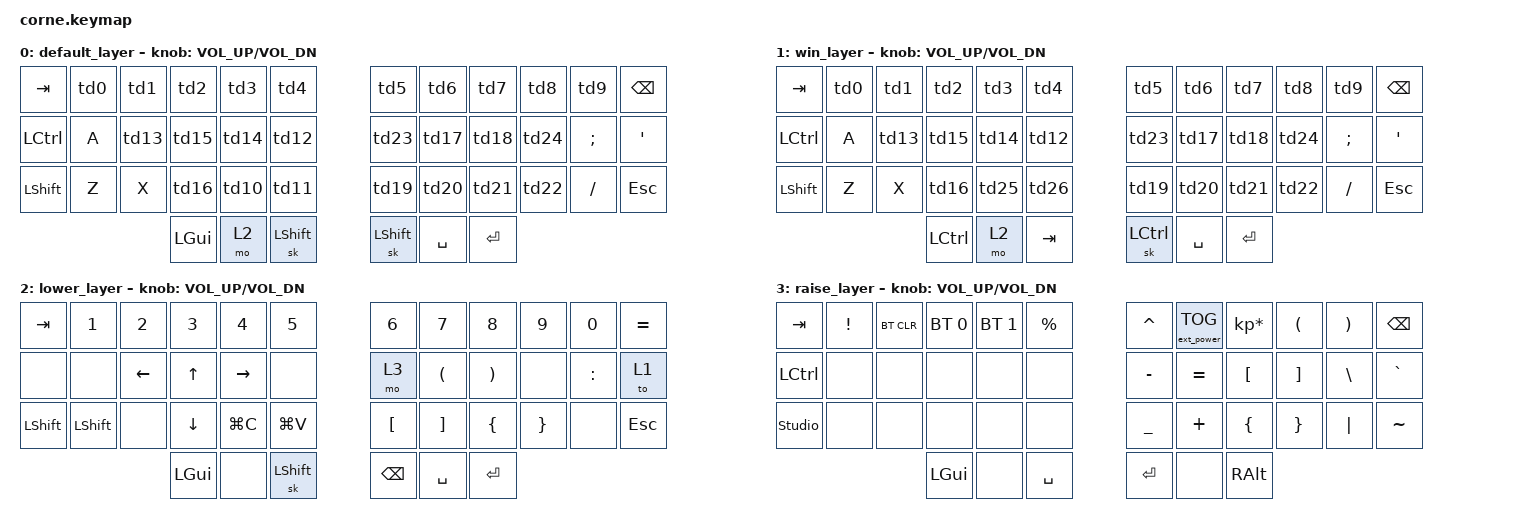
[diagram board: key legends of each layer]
/*
 * Copyright (c) 2020 The ZMK Contributors
 *
 * SPDX-License-Identifier: MIT
 */

#include <behaviors.dtsi>
#include <dt-bindings/zmk/keys.h>
#include <dt-bindings/zmk/bt.h>
#include <dt-bindings/zmk/ext_power.h>
#include <dt-bindings/zmk/mouse.h>

/ {
    combos {
        compatible = "zmk,combos";
        combo_toggle_win_layer {
            timeout-ms = <50>;
            key-positions = <28 31>;
            bindings = <&tog 3>;
        };
        combo_enter {
            timeout-ms = <50>;
            key-positions = <15 20>;
            bindings = <&kp RET>;
        };
    };
    behaviors {
        td0: TDQ1 {
            compatible = "zmk,behavior-tap-dance";
            #binding-cells = <0>;
            tapping-term-ms = <175>;
            bindings = <&kp Q>, <&kp N1>;
        };
        td1: TDW2 {
            compatible = "zmk,behavior-tap-dance";
            #binding-cells = <0>;
            tapping-term-ms = <175>;
            bindings = <&kp W>, <&kp N2>;
        };
        td2: TDE3 {
            compatible = "zmk,behavior-tap-dance";
            #binding-cells = <0>;
            tapping-term-ms = <175>;
            bindings = <&kp E>, <&kp N3>;
        };
        td3: TDR4 {
            compatible = "zmk,behavior-tap-dance";
            #binding-cells = <0>;
            tapping-term-ms = <175>;
            bindings = <&kp R>, <&kp N4>;
        };
        td4: TDT5 {
            compatible = "zmk,behavior-tap-dance";
            #binding-cells = <0>;
            tapping-term-ms = <175>;
            bindings = <&kp T>, <&kp N5>;
        };
        td5: TDY6 {
            compatible = "zmk,behavior-tap-dance";
            #binding-cells = <0>;
            tapping-term-ms = <175>;
            bindings = <&kp Y>, <&kp N6>;
        };
        td6: TDU7 {
            compatible = "zmk,behavior-tap-dance";
            #binding-cells = <0>;
            tapping-term-ms = <175>;
            bindings = <&kp U>, <&kp N7>;
        };
        td7: TDI8 {
            compatible = "zmk,behavior-tap-dance";
            #binding-cells = <0>;
            tapping-term-ms = <175>;
            bindings = <&kp I>, <&kp N8>;
        };
        td8: TDO9 {
            compatible = "zmk,behavior-tap-dance";
            #binding-cells = <0>;
            tapping-term-ms = <175>;
            bindings = <&kp O>, <&kp N9>;
        };
        td9: TDP0 {
            compatible = "zmk,behavior-tap-dance";
            #binding-cells = <0>;
            tapping-term-ms = <175>;
            bindings = <&kp P>, <&kp N0>;
        };
        td10: TDV_COPY {
            compatible = "zmk,behavior-tap-dance";
            #binding-cells = <0>;
            tapping-term-ms = <175>;
            bindings = <&kp V>, <&kp LG(C)>;
        };
        td11: TDB_PASTE {
            compatible = "zmk,behavior-tap-dance";
            #binding-cells = <0>;
            tapping-term-ms = <175>;
            bindings = <&kp B>, <&kp LG(V)>;
        };
        td12: TDG_SAVE {
            compatible = "zmk,behavior-tap-dance";
            #binding-cells = <0>;
            tapping-term-ms = <175>;
            bindings = <&kp G>, <&kp LG(S)>;
        };
        td13: TDS_LEFT {
            compatible = "zmk,behavior-tap-dance";
            #binding-cells = <0>;
            tapping-term-ms = <175>;
            bindings = <&kp S>, <&kp LEFT>;
        };
        td14: TDF_RIGHT {
            compatible = "zmk,behavior-tap-dance";
            #binding-cells = <0>;
            tapping-term-ms = <175>;
            bindings = <&kp F>, <&kp RIGHT>;
        };
        td15: TDD_UP {
            compatible = "zmk,behavior-tap-dance";
            #binding-cells = <0>;
            tapping-term-ms = <175>;
            bindings = <&kp D>, <&kp UP>;
        };
        td16: TDC_DOWN {
            compatible = "zmk,behavior-tap-dance";
            #binding-cells = <0>;
            tapping-term-ms = <175>;
            bindings = <&kp C>, <&kp DOWN>;
        };
        td17: TDJ_LPAREN {
            compatible = "zmk,behavior-tap-dance";
            #binding-cells = <0>;
            tapping-term-ms = <175>;
            bindings = <&kp J>, <&kp LPAR>;
        };
        td18: TDK_RPAREN {
            compatible = "zmk,behavior-tap-dance";
            #binding-cells = <0>;
            tapping-term-ms = <175>;
            bindings = <&kp K>, <&kp RPAR>;
        };
        td19: TDN_LBKT {
            compatible = "zmk,behavior-tap-dance";
            #binding-cells = <0>;
            tapping-term-ms = <175>;
            bindings = <&kp N>, <&kp LBKT>;
        };
        td20: TDM_RBKT {
            compatible = "zmk,behavior-tap-dance";
            #binding-cells = <0>;
            tapping-term-ms = <175>;
            bindings = <&kp M>, <&kp RBKT>;
        };
        td21: TDCOMMA_LBRC {
            compatible = "zmk,behavior-tap-dance";
            #binding-cells = <0>;
            tapping-term-ms = <175>;
            bindings = <&kp COMMA>, <&kp LBRC>;
        };
        td22: TDDOT_RBRC {
            compatible = "zmk,behavior-tap-dance";
            #binding-cells = <0>;
            tapping-term-ms = <175>;
            bindings = <&kp DOT>, <&kp RBRC>;
        };
        td23: TDH_MINUS {
            compatible = "zmk,behavior-tap-dance";
            #binding-cells = <0>;
            tapping-term-ms = <175>;
            bindings = <&kp H>, <&kp MINUS>;
        };
        td24: TDL_PLUS {
            compatible = "zmk,behavior-tap-dance";
            #binding-cells = <0>;
            tapping-term-ms = <175>;
            bindings = <&kp L>, <&kp PLUS>;
        };
        td25: TDV_CTRLC {
            compatible = "zmk,behavior-tap-dance";
            #binding-cells = <0>;
            tapping-term-ms = <175>;
            bindings = <&kp V>, <&kp LC(C)>;
        };
        td26: TDB_CTRLV {
            compatible = "zmk,behavior-tap-dance";
            #binding-cells = <0>;
            tapping-term-ms = <175>;
            bindings = <&kp B>, <&kp LC(V)>;
        };
    };
    
    keymap {
        compatible = "zmk,keymap";

        default_layer {
            bindings = <
   &kp TAB   &td0  &td1  &td2   &td3   &td4                        &td5   &td6   &td7      &td8   &td9    &kp BSPC
   &kp LCTRL &kp A &td13 &td15  &td14  &td12                       &td23  &td17  &td18     &td24  &kp SEMI &kp SQT
   &kp LSHFT &kp Z &kp X &td16  &td10  &td11                       &td19  &td20  &td21     &td22  &kp FSLH &kp ESC
                         &kp LGUI &mo 2 &sk LSHIFT                &sk LSHFT &kp SPACE &kp RET
            >;

            sensor-bindings = <&inc_dec_kp C_VOL_UP C_VOL_DN>;
        };

        win_layer {
            bindings = <
   &kp TAB   &td0  &td1  &td2   &td3   &td4                        &td5   &td6   &td7      &td8   &td9    &kp BSPC
   &kp LCTRL &kp A &td13 &td15  &td14  &td12                       &td23  &td17  &td18     &td24  &kp SEMI &kp SQT
   &kp LSHFT &kp Z &kp X &td16  &td25  &td26                       &td19  &td20  &td21     &td22  &kp FSLH &kp ESC
                         &kp LCTRL &mo 2 &kp TAB                  &sk LCTRL &kp SPACE &kp RET
            >;

            sensor-bindings = <&inc_dec_kp C_VOL_UP C_VOL_DN>;
        };

        lower_layer {
            bindings = <
   &kp TAB   &kp N1    &kp N2   &kp N3   &kp N4    &kp N5                &kp N6   &kp N7   &kp N8   &kp N9   &kp N0    &kp EQUAL
   &none     &none     &kp LEFT &kp UP   &kp RIGHT &none                 &mo 3    &kp LPAR &kp RPAR &none    &kp COLON &to 1
   &kp LSHFT &kp LSHFT &none    &kp DOWN &kp LG(C) &kp LG(V)             &kp LBKT &kp RBKT &kp LBRC &kp RBRC &none     &kp ESC
                                &kp LGUI &none    &sk LSHFT             &kp BSPC &kp SPACE &kp RET
            >;

            sensor-bindings = <&inc_dec_kp C_VOL_UP C_VOL_DN>;
        };

        raise_layer {
            bindings = <
   &kp TAB        &kp EXCL &bt BT_CLR &bt BT_SEL 0 &bt BT_SEL 1 &kp PRCNT     &kp CARET &ext_power EP_TOG &kp KP_MULTIPLY &kp LPAR &kp RPAR &kp BSPC
   &kp LCTRL      &none    &none      &none        &none        &none         &kp MINUS &kp EQUAL         &kp LBKT        &kp RBKT &kp BSLH &kp GRAVE
   &studio_unlock &none    &none      &none        &none        &none         &kp UNDER &kp PLUS          &kp LBRC        &kp RBRC &kp PIPE &kp TILDE
                                      &kp LGUI     &none        &kp SPACE     &kp RET   &none             &kp RALT
            >;

            sensor-bindings = <&inc_dec_kp C_VOL_UP C_VOL_DN>;
        };

        
    };
};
